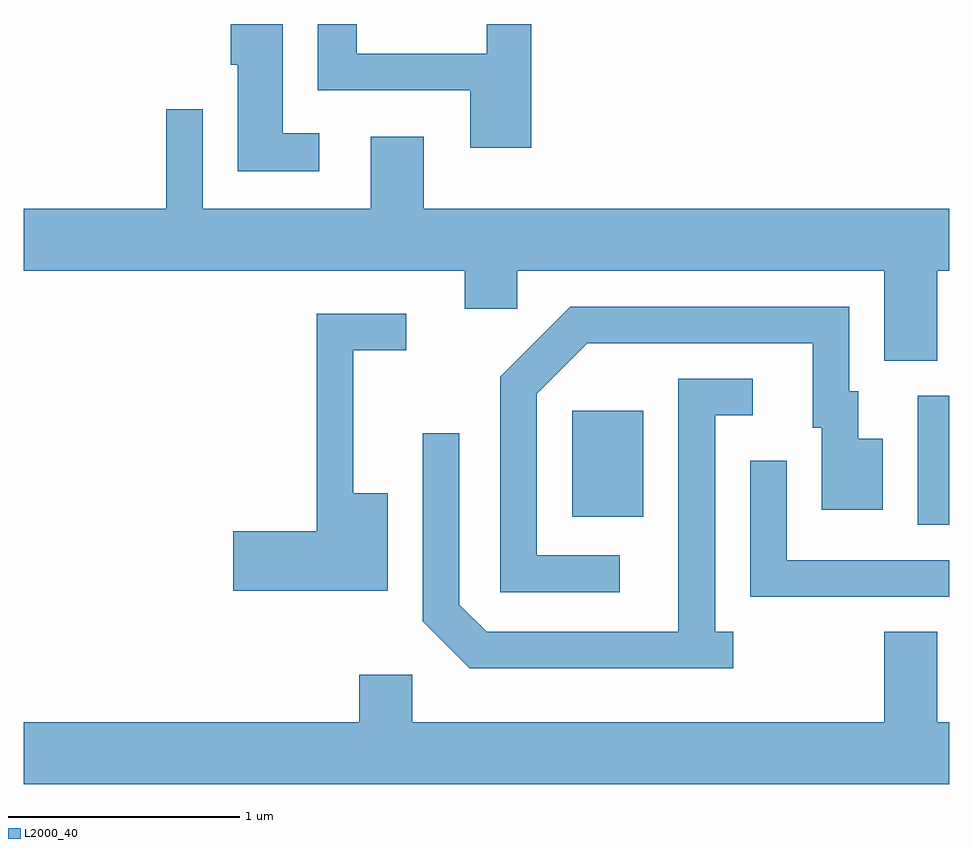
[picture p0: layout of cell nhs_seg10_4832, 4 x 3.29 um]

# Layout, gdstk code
import gdstk
lib = gdstk.Library(unit=1e-6, precision=1e-09)
def R(c, l, rs):  # rectangles x0, y0, x1, y1
    for r in rs: c.add(gdstk.rectangle(r[:2], r[2:], *l))
def P(c, l, *ps):  # polygons
    for p in ps: c.add(gdstk.Polygon(p, *l))
L2000_40 = (2000, 40)

nhs_seg10_4832 = lib.new_cell('nhs_seg10_4832')
R(nhs_seg10_4832, L2000_40, [(331.476,2128.356,331.611,2128.914), (329.981,2128.391,330.289,2128.849)])
P(nhs_seg10_4832, L2000_40, [(328.888,2130.049),(328.729,2130.049),(328.729,2130.522),(328.506,2130.522),(328.506,2130.346),(328.536,2130.346),(328.536,2129.886),(328.888,2129.886)],
  [(329.804,2130.522),(329.611,2130.522),(329.611,2130.394),(329.049,2130.394),(329.049,2130.522),(328.881,2130.522),(328.881,2130.236),(329.541,2130.236),(329.541,2129.986),(329.804,2129.986)],
  [(329.111,2130.034),(329.111,2129.724),(328.384,2129.724),(328.384,2130.153),(328.226,2130.153),(328.226,2129.724),(327.611,2129.724),(327.611,2129.456),(329.516,2129.456),(329.516,2129.291),(329.744,2129.291),(329.744,2129.456),(331.331,2129.456),(331.331,2129.066),(331.559,2129.066),(331.559,2129.456),(331.611,2129.456),(331.611,2129.724),(329.339,2129.724),(329.339,2130.034)],
  [(330.188,2128.224),(329.829,2128.224),(329.829,2128.924),(330.047,2129.141),(331.021,2129.141),(331.021,2128.776),(331.061,2128.776),(331.061,2128.421),(331.324,2128.421),(331.324,2128.729),(331.219,2128.729),(331.219,2128.934),(331.179,2128.934),(331.179,2129.299),(329.974,2129.299),(329.671,2128.997),(329.671,2128.066),(330.188,2128.066)],
  [(329.184,2128.494),(329.034,2128.494),(329.034,2129.111),(329.263,2129.111),(329.263,2129.269),(328.876,2129.269),(328.876,2128.329),(328.516,2128.329),(328.516,2128.071),(329.184,2128.071)],
  [(330.678,2127.894),(330.599,2127.894),(330.599,2128.831),(330.763,2128.831),(330.763,2128.989),(330.441,2128.989),(330.441,2127.894),(329.612,2127.894),(329.494,2128.012),(329.494,2128.753),(329.336,2128.753),(329.336,2127.939),(329.539,2127.736),(330.678,2127.736)],
  [(331.611,2128.204),(330.909,2128.204),(330.909,2128.633),(330.751,2128.633),(330.751,2128.046),(331.611,2128.046)],
  [(331.611,2127.504),(331.559,2127.504),(331.559,2127.894),(331.331,2127.894),(331.331,2127.504),(329.289,2127.504),(329.289,2127.709),(329.061,2127.709),(329.061,2127.504),(327.611,2127.504),(327.611,2127.236),(331.611,2127.236)])

lib.write_gds('nhs_seg10_4832.gds')
